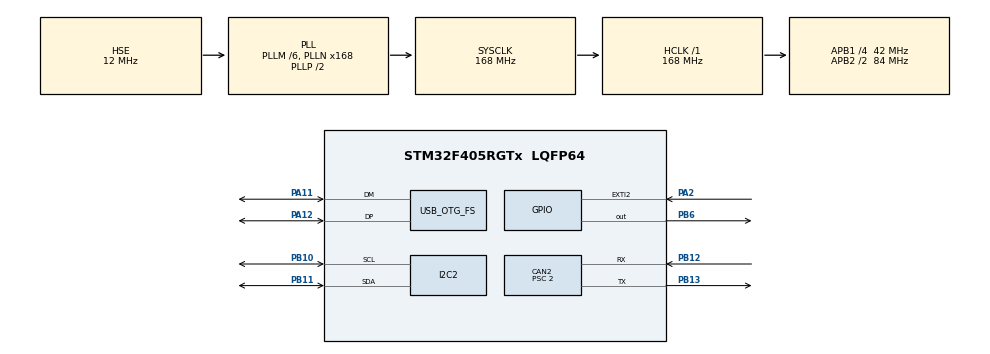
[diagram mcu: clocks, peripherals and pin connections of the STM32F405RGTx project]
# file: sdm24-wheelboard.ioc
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CAN2.ABOM=ENABLE
CAN2.BS1=CAN_BS1_16TQ
CAN2.BS2=CAN_BS2_4TQ
CAN2.CalculateBaudRate=1000000
CAN2.CalculateTimeBit=1000
CAN2.CalculateTimeQuantum=47.61904761904762
CAN2.Prescaler=2
Mcu.Family=STM32F4
Mcu.Name=STM32F405RGTx
Mcu.Package=LQFP64
NVIC.EXTI2_IRQn=true\:0\:0\:false\:false\:true\:true\:true\:true
NVIC.OTG_FS_IRQn=true\:0\:0\:false\:false\:true\:false\:true\:true
NVIC.PriorityGroup=NVIC_PRIORITYGROUP_4
PA11.Mode=Device_Only
PA11.Signal=USB_OTG_FS_DM
PA12.Mode=Device_Only
PA12.Signal=USB_OTG_FS_DP
PA13.Mode=Trace_Asynchronous_SW
PA13.Signal=SYS_JTMS-SWDIO
PA14.Mode=Trace_Asynchronous_SW
PA14.Signal=SYS_JTCK-SWCLK
PA2.GPIO_ModeDefaultEXTI=GPIO_MODE_IT_FALLING
PA2.Signal=GPXTI2
PB10.Mode=I2C
PB10.Signal=I2C2_SCL
PB11.Mode=I2C
PB11.Signal=I2C2_SDA
PB12.Mode=CAN_Activate
PB12.Signal=CAN2_RX
PB13.Mode=CAN_Activate
PB13.Signal=CAN2_TX
PB3.Mode=Trace_Asynchronous_SW
PB3.Signal=SYS_JTDO-SWO
PB6.Signal=GPIO_Output
PH0-OSC_IN.Mode=HSE-External-Oscillator
PH0-OSC_IN.Signal=RCC_OSC_IN
PH1-OSC_OUT.Mode=HSE-External-Oscillator
PH1-OSC_OUT.Signal=RCC_OSC_OUT
ProjectManager.HeapSize=0x200
ProjectManager.StackSize=0x400
ProjectManager.TargetToolchain=STM32CubeIDE
RCC.48MHZClocksFreq_Value=48000000
RCC.AHBFreq_Value=168000000
RCC.APB1CLKDivider=RCC_HCLK_DIV4
RCC.APB1Freq_Value=42000000
RCC.APB1TimFreq_Value=84000000
RCC.APB2CLKDivider=RCC_HCLK_DIV2
RCC.APB2Freq_Value=84000000
RCC.APB2TimFreq_Value=168000000
RCC.CortexFreq_Value=168000000
RCC.HCLKFreq_Value=168000000
RCC.HSE_VALUE=12000000
RCC.HSI_VALUE=16000000
RCC.LSE_VALUE=32768
RCC.PLLM=6
RCC.PLLN=168
RCC.PLLQ=7
RCC.SYSCLKFreq_VALUE=168000000
RCC.SYSCLKSource=RCC_SYSCLKSOURCE_PLLCLK
RCC.VCOOutputFreq_Value=336000000
TIM5.Prescaler=83
USB_DEVICE.CLASS_NAME_FS=CDC
USB_DEVICE.VirtualMode-CDC_FS=Cdc
USB_DEVICE.VirtualModeFS=Cdc_FS
USB_OTG_FS.VirtualMode=Device_Only
VP_TIM5_VS_ClockSourceINT.Mode=Internal
VP_USB_DEVICE_VS_USB_DEVICE_CDC_FS.Mode=CDC_FS
board=custom

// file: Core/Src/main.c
/* USER CODE BEGIN Header */
/**
  ******************************************************************************
  * @file           : main.c
  * @brief          : Main program body
  ******************************************************************************
  * @attention
  *
  * Copyright (c) 2024 STMicroelectronics.
  * All rights reserved.
  *
  * This software is licensed under terms that can be found in the LICENSE file
  * in the root directory of this software component.
  * If no LICENSE file comes with this software, it is provided AS-IS.
  *
  ******************************************************************************
  */
/* USER CODE END Header */
#include "main.h"
#include "usb_device.h"

/* USER CODE BEGIN Includes */
#include "usbd_cdc_if.h"
#include "eeprom.h"
#include "mlx90614.h"
#include "string.h"
/* USER CODE END Includes */

/* USER CODE BEGIN PD */
#define USER_LED_PIN GPIOB, GPIO_PIN_6
/* USER CODE END PD */

/* USER CODE BEGIN PM */
#define WHEEL_RAIDUS 10  // replace
/* USER CODE END PM */

CAN_HandleTypeDef hcan2;

I2C_HandleTypeDef hi2c2;

TIM_HandleTypeDef htim5;

void SystemClock_Config(void);
static void MX_GPIO_Init(void);
static void MX_I2C2_Init(void);
static void MX_CAN2_Init(void);
static void MX_TIM5_Init(void);

/* USER CODE BEGIN 0 */
CAN_TxHeaderTypeDef   TxHeader;
uint8_t               TxData[8];
uint32_t              TxMailbox;
volatile uint32_t old_hall_time = 0;
volatile uint32_t diff = 0;
uint32_t rpm = 0;
/* USER CODE END 0 */

int main(void)
{

  /* MCU Configuration--------------------------------------------------------*/

  /* Reset of all peripherals, Initializes the Flash interface and the Systick. */
  HAL_Init();

  /* Configure the system clock */
  SystemClock_Config();

  /* Initialize all configured peripherals */
  MX_GPIO_Init();
  MX_I2C2_Init();
  MX_CAN2_Init();
  MX_USB_DEVICE_Init();
  MX_TIM5_Init();
  /* USER CODE BEGIN 2 */
  TxHeader.IDE = CAN_ID_STD;
  TxHeader.StdId = 0x446;
  TxHeader.RTR = CAN_RTR_DATA;
  TxHeader.DLC = 6;

  TxData[0] = 50;
  TxData[1] = 0xAA;

  HAL_Delay(500);

  //eeprom_read(&hi2c2, 0b000, 169, &rx);
  uint16_t addr = 2;
  //eeprom_config_write(&hi2c2, 0x366);
  eeprom_config_read(&hi2c2, &addr);
  //TxHeader.StdId = addr;
  addr = 0x365;
  TxHeader.StdId = 0x365;
  int16_t amb = 0;
  int16_t obj = 0;
  float emi = 0.0;
  //mlx90614_setEmissivity(&hi2c2, 0.55); // 0.55 emissivity for steel
  mlx90614_getEmissivity(&hi2c2, &emi);

  /* USER CODE END 2 */

  /* Infinite loop */
  /* USER CODE BEGIN WHILE */

  // usb stuff
  char msg[100];

  while (1)
  {
      // send CAN message every 40 ms (25 Hz)
      static uint32_t canTimeout = 0;
      if (HAL_GetTick() - canTimeout > 40) {
          canTimeout = HAL_GetTick();

	      mlx90614_getAmbient(&hi2c2, &amb);
	      mlx90614_getObject(&hi2c2, &obj);

	      rpm = (1000000 * 60) / (diff * 20);
	      TxData[0] = rpm >> 8;
	      TxData[1] = rpm & 0xFF;

	      TxData[2] = obj >> 8;
	      TxData[3] = obj & 0xFF;

	      TxData[4] = amb >> 8;
	      TxData[5] = amb & 0xFF;
	      if (HAL_CAN_AddTxMessage(&hcan2, &TxHeader, TxData, &TxMailbox) != HAL_OK);
      }

      // periodically send USB debug messages
      static uint32_t usbTimeout = 0;
      if (HAL_GetTick() - usbTimeout > 250) {
    	  usbTimeout = HAL_GetTick();

    	  sprintf(msg, "CAN addr: %x\tRPM: %d\temissivity: %f\tobj: %f\tamb: %f \r\n", addr, TxData[0] << 8 | TxData[1], emi, mlx90614_calcTemperature(obj), mlx90614_calcTemperature(amb));
    	  //sprintf(msg, "millis: %d\tmicros: %d\r\n", HAL_GetTick(), __HAL_TIM_GET_COUNTER(&htim5));
    	  CDC_Transmit_FS((uint8_t*) msg, strlen(msg));
      }

    /* USER CODE END WHILE */

  }
}

void SystemClock_Config(void)
{
  RCC_OscInitTypeDef RCC_OscInitStruct = {0};
  RCC_ClkInitTypeDef RCC_ClkInitStruct = {0};

  /** Configure the main internal regulator output voltage
  */
  __HAL_RCC_PWR_CLK_ENABLE();
  __HAL_PWR_VOLTAGESCALING_CONFIG(PWR_REGULATOR_VOLTAGE_SCALE1);

  /** Initializes the RCC Oscillators according to the specified parameters
  * in the RCC_OscInitTypeDef structure.
  */
  RCC_OscInitStruct.OscillatorType = RCC_OSCILLATORTYPE_HSE;
  RCC_OscInitStruct.HSEState = RCC_HSE_ON;
  RCC_OscInitStruct.PLL.PLLState = RCC_PLL_ON;
  RCC_OscInitStruct.PLL.PLLSource = RCC_PLLSOURCE_HSE;
  RCC_OscInitStruct.PLL.PLLM = 6;
  RCC_OscInitStruct.PLL.PLLN = 168;
  RCC_OscInitStruct.PLL.PLLP = RCC_PLLP_DIV2;
  RCC_OscInitStruct.PLL.PLLQ = 7;
  if (HAL_RCC_OscConfig(&RCC_OscInitStruct) != HAL_OK)
  {
    Error_Handler();
  }

  /** Initializes the CPU, AHB and APB buses clocks
  */
  RCC_ClkInitStruct.ClockType = RCC_CLOCKTYPE_HCLK|RCC_CLOCKTYPE_SYSCLK
                              |RCC_CLOCKTYPE_PCLK1|RCC_CLOCKTYPE_PCLK2;
  RCC_ClkInitStruct.SYSCLKSource = RCC_SYSCLKSOURCE_PLLCLK;
  RCC_ClkInitStruct.AHBCLKDivider = RCC_SYSCLK_DIV1;
  RCC_ClkInitStruct.APB1CLKDivider = RCC_HCLK_DIV4;
  RCC_ClkInitStruct.APB2CLKDivider = RCC_HCLK_DIV2;

  if (HAL_RCC_ClockConfig(&RCC_ClkInitStruct, FLASH_LATENCY_5) != HAL_OK)
  {
    Error_Handler();
  }
}

static void MX_CAN2_Init(void)
{

  hcan2.Instance = CAN2;
  hcan2.Init.Prescaler = 2;
  hcan2.Init.Mode = CAN_MODE_NORMAL;
  hcan2.Init.SyncJumpWidth = CAN_SJW_1TQ;
  hcan2.Init.TimeSeg1 = CAN_BS1_16TQ;
  hcan2.Init.TimeSeg2 = CAN_BS2_4TQ;
  hcan2.Init.TimeTriggeredMode = DISABLE;
  hcan2.Init.AutoBusOff = ENABLE;
  hcan2.Init.AutoWakeUp = DISABLE;
  hcan2.Init.AutoRetransmission = DISABLE;
  hcan2.Init.ReceiveFifoLocked = DISABLE;
  hcan2.Init.TransmitFifoPriority = DISABLE;
  if (HAL_CAN_Init(&hcan2) != HAL_OK)
  {
    Error_Handler();
  }
  /* USER CODE BEGIN CAN2_Init 2 */
  if (HAL_CAN_Start(&hcan2) != HAL_OK)
  {
	  Error_Handler();
  }
  /* USER CODE END CAN2_Init 2 */

}

static void MX_I2C2_Init(void)
{

  hi2c2.Instance = I2C2;
  hi2c2.Init.ClockSpeed = 100000;
  hi2c2.Init.DutyCycle = I2C_DUTYCYCLE_2;
  hi2c2.Init.OwnAddress1 = 0;
  hi2c2.Init.AddressingMode = I2C_ADDRESSINGMODE_7BIT;
  hi2c2.Init.DualAddressMode = I2C_DUALADDRESS_DISABLE;
  hi2c2.Init.OwnAddress2 = 0;
  hi2c2.Init.GeneralCallMode = I2C_GENERALCALL_DISABLE;
  hi2c2.Init.NoStretchMode = I2C_NOSTRETCH_DISABLE;
  if (HAL_I2C_Init(&hi2c2) != HAL_OK)
  {
    Error_Handler();
  }

}

static void MX_TIM5_Init(void)
{

  TIM_ClockConfigTypeDef sClockSourceConfig = {0};
  TIM_MasterConfigTypeDef sMasterConfig = {0};

  htim5.Instance = TIM5;
  htim5.Init.Prescaler = 83;
  htim5.Init.CounterMode = TIM_COUNTERMODE_UP;
  htim5.Init.Period = 4294967295;
  htim5.Init.ClockDivision = TIM_CLOCKDIVISION_DIV1;
  htim5.Init.AutoReloadPreload = TIM_AUTORELOAD_PRELOAD_DISABLE;
  if (HAL_TIM_Base_Init(&htim5) != HAL_OK)
  {
    Error_Handler();
  }
  sClockSourceConfig.ClockSource = TIM_CLOCKSOURCE_INTERNAL;
  if (HAL_TIM_ConfigClockSource(&htim5, &sClockSourceConfig) != HAL_OK)
  {
    Error_Handler();
  }
  sMasterConfig.MasterOutputTrigger = TIM_TRGO_RESET;
  sMasterConfig.MasterSlaveMode = TIM_MASTERSLAVEMODE_DISABLE;
  if (HAL_TIMEx_MasterConfigSynchronization(&htim5, &sMasterConfig) != HAL_OK)
  {
    Error_Handler();
  }
  /* USER CODE BEGIN TIM5_Init 2 */
  HAL_TIM_Base_Start(&htim5);
  /* USER CODE END TIM5_Init 2 */

}

static void MX_GPIO_Init(void)
{
  GPIO_InitTypeDef GPIO_InitStruct = {0};

  /* GPIO Ports Clock Enable */
  __HAL_RCC_GPIOH_CLK_ENABLE();
  __HAL_RCC_GPIOA_CLK_ENABLE();
  __HAL_RCC_GPIOB_CLK_ENABLE();

  /*Configure GPIO pin Output Level */
  HAL_GPIO_WritePin(GPIOB, GPIO_PIN_6, GPIO_PIN_RESET);

  /*Configure GPIO pin : PA2 */
  GPIO_InitStruct.Pin = GPIO_PIN_2;
  GPIO_InitStruct.Mode = GPIO_MODE_IT_FALLING;
  GPIO_InitStruct.Pull = GPIO_NOPULL;
  HAL_GPIO_Init(GPIOA, &GPIO_InitStruct);

  /*Configure GPIO pin : PB6 */
  GPIO_InitStruct.Pin = GPIO_PIN_6;
  GPIO_InitStruct.Mode = GPIO_MODE_OUTPUT_PP;
  GPIO_InitStruct.Pull = GPIO_NOPULL;
  GPIO_InitStruct.Speed = GPIO_SPEED_FREQ_LOW;
  HAL_GPIO_Init(GPIOB, &GPIO_InitStruct);

  /* EXTI interrupt init*/
  HAL_NVIC_SetPriority(EXTI2_IRQn, 0, 0);
  HAL_NVIC_EnableIRQ(EXTI2_IRQn);

}

/* USER CODE BEGIN 4 */
volatile uint32_t new_time = 0;
void HAL_GPIO_EXTI_Callback(uint16_t GPIO_Pin)
{
  if(GPIO_Pin == GPIO_PIN_2) {
	  HAL_GPIO_TogglePin(GPIOB, GPIO_PIN_6);
	  new_time = __HAL_TIM_GET_COUNTER(&htim5);
	  diff = new_time - old_hall_time;
	  old_hall_time = new_time;
  } else {
      __NOP();
  }
}
/* USER CODE END 4 */

void Error_Handler(void)
{
  __disable_irq();
  while (1)
  {
  }
}
